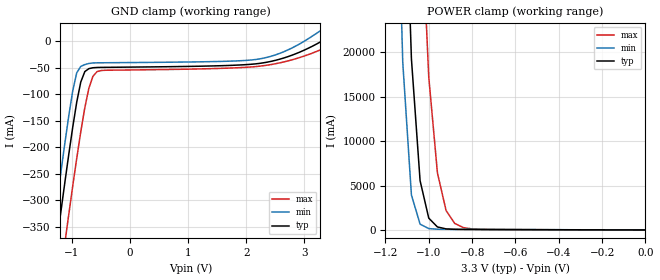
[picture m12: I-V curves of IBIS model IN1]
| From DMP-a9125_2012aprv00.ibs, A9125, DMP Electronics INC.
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[Model] IN1
Model_type Input
Polarity   Non-Inverting
Enable   Active-High
Vinl =   0.6500V
Vinh =   1.1500V
Vmeas =  1.6500V
Cref =   0.0F
Rref =   25.0000
Vref =   0.9000V
C_comp   2.3000pF   2.2000pF   2.4000pF
[Temperature Range]   25.0000   -40.0000   0.1250k
[Pullup Reference]   3.3000V   3.0000V   3.6000V
[Pulldown Reference]   0.0V   0.0V   0.0V
[POWER Clamp Reference]   3.3000V   3.0000V   3.6000V
[GND Clamp Reference]   0.0V   0.0V   0.0V
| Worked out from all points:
|   POWER clamp passes 1 mA (typ) near -0.02 V on its own axis
[GND_clamp]
|Voltage   I(typ)   I(min)   I(max)
-3.3V     -2.141A    -2.075A    -2.247A
-1.34V    -443.5mA   -369mA     -558.3mA
-1.27V    -385.2mA   -310.6mA   -500.1mA
-1.2V     -327.6mA   -253.1mA   -442.5mA
-1.13V    -271.1mA   -196.9mA   -385.5mA
-1.06V    -216mA     -143.2mA   -329.4mA
-990mV    -163.3mA   -94.65mA   -274.4mA
-850mV    -77.06mA   -47.56mA   -171mA
-710mV    -51.72mA   -41.98mA   -88.56mA
-570mV    -49.51mA   -40.75mA   -57.43mA
2.16V     -42.74mA   -34.54mA   -47.91mA
3.28V     -1.241mA   19.84mA    -16.3mA
[POWER_clamp]
|Voltage   I(typ)   I(min)   I(max)
-3.28V    3.781kA    3.76kA     3.833kA
-1.16V    91.86A     53.53A     166.7A
-1.12V    48.91A     18.89A     116.2A
-1.08V    19.28A     3.938A     72.68A
-1.04V    5.545A     655.9mA    38.9A
-1V       1.333A     155.5mA    17.22A
-960mV    339.3mA    83.42mA    6.429A
-920mV    121.9mA    70.84mA    2.183A
-880mV    73.53mA    66.4mA     733.5mA
-840mV    61mA       63.08mA    265.8mA
-760mV    52.7mA     56.77mA    68.28mA
0V        108pA      90.62pA    1.126nA
